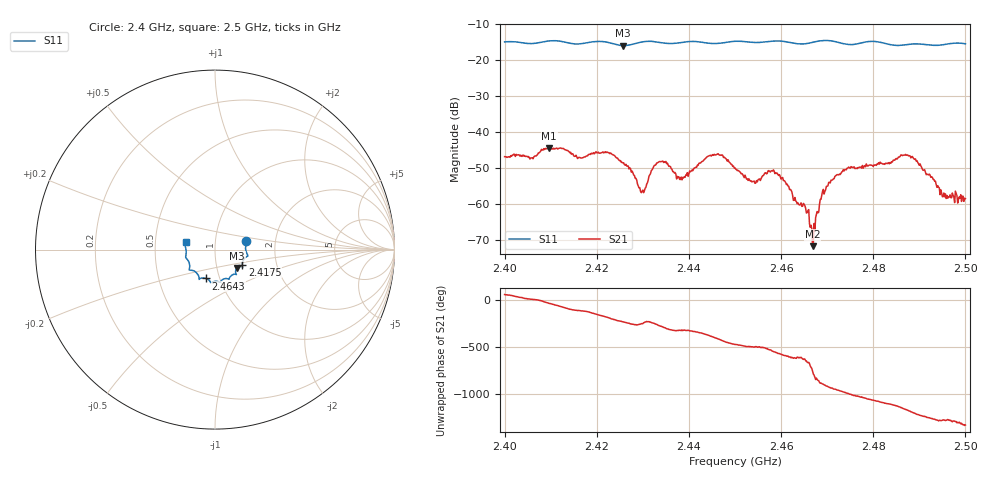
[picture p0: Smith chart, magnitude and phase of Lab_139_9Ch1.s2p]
# Hz S RI R 50
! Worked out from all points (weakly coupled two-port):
!   601 points, 2.4 GHz to 2.5 GHz, reference 50 ohm
!   highest |S21| = -44.41 dB at 2.4097 GHz (marker M1); lowest = -71.8 dB at 2.4668 GHz (marker M2)
!   lowest |S11| = -15.9 dB at 2.4257 GHz (marker M3), VSWR 1.38, Z = 62.5 - j13 ohm
!   |S11| at or under -10 dB: start of sweep to end of sweep
!   S12 and S22 are empty: the file has one direction only
!   S11 on the Smith chart (normalised r, x): 2.4 GHz: 1.41, +0.14; 2.4175 GHz: 1.34, -0.23; 2.4643 GHz: 0.86, -0.28; 2.5 GHz: 0.72, +0.06
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2.4e9  0.1731 0.049  0.00233 0.0039  0 0  0 0
2.409667e9  0.1825 -0.0319  0.0049 -0.00349  0 0  0 0
2.416667e9  0.1528 -0.074  -0.0019 -0.0039  0 0  0 0
2.4175e9  0.1518 -0.0837  -0.0021 -0.00397  0 0  0 0
2.425667e9  0.123 -0.1017  -0.00233 0.0029  0 0  0 0
2.43e9  0.1173 -0.1369  -0.000519 0.00147  0 0  0 0
2.433333e9  0.1135 -0.1372  -0.000127 0.0038  0 0  0 0
2.438167e9  0.0817 -0.1554  0.00176 0.0013  0 0  0 0
2.445e9  0.056 -0.1616  0.00419 -0.00227  0 0  0 0
2.45e9  0.0286 -0.1813  -0.0012 -0.00294  0 0  0 0
2.454e9  0.0108 -0.1766  -0.00155 -0.00134  0 0  0 0
2.458667e9  -0.0218 -0.1837  -0.00258 0.000563  0 0  0 0
2.464333e9  -0.0498 -0.1607  -0.000364 0.000967  0 0  0 0
2.4655e9  -0.0637 -0.158  0.000227 0.00071  0 0  0 0
2.466667e9  -0.0762 -0.159  0.000453 -5.55e-05  0 0  0 0
2.466833e9  -0.0776 -0.1594  0.000201 -0.000162  0 0  0 0
2.469e9  -0.0882 -0.1657  -0.00149 -0.000154  0 0  0 0
2.471833e9  -0.0882 -0.1581  -0.00159 0.00188  0 0  0 0
2.483333e9  -0.1407 -0.0896  0.00339 -0.0016  0 0  0 0
2.488e9  -0.1601 -0.0495  -0.00108 -0.00453  0 0  0 0
2.495e9  -0.1634 0.0101  -0.00119 0.000413  0 0  0 0
2.5e9  -0.1638 0.0432  -0.000402 0.00111  0 0  0 0
